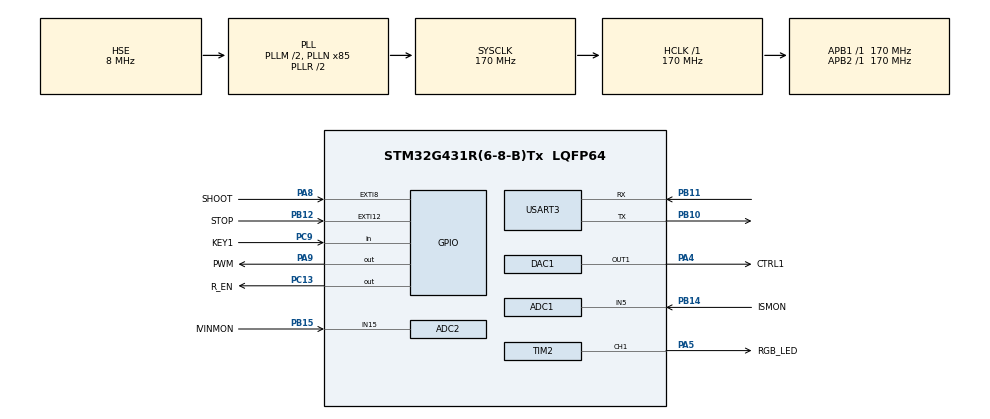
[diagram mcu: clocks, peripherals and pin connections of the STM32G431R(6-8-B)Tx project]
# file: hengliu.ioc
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ADC1.Channel-1\#ChannelRegularConversion=ADC_CHANNEL_5
ADC1.NbrOfConversionFlag=1
ADC1.OffsetNumber-1\#ChannelRegularConversion=ADC_OFFSET_NONE
ADC1.Rank-1\#ChannelRegularConversion=1
ADC1.SamplingTime-1\#ChannelRegularConversion=ADC_SAMPLETIME_247CYCLES_5
ADC1.master=1
ADC2.Channel-1\#ChannelRegularConversion=ADC_CHANNEL_15
ADC2.NbrOfConversionFlag=1
ADC2.OffsetNumber-1\#ChannelRegularConversion=ADC_OFFSET_NONE
ADC2.Rank-1\#ChannelRegularConversion=1
ADC2.SamplingTime-1\#ChannelRegularConversion=ADC_SAMPLETIME_247CYCLES_5
Dma.Request0=TIM2_CH1
Dma.TIM2_CH1.0.Direction=DMA_MEMORY_TO_PERIPH
Dma.TIM2_CH1.0.EventEnable=DISABLE
Dma.TIM2_CH1.0.Instance=DMA1_Channel1
Dma.TIM2_CH1.0.MemDataAlignment=DMA_MDATAALIGN_WORD
Dma.TIM2_CH1.0.MemInc=DMA_MINC_ENABLE
Dma.TIM2_CH1.0.Mode=DMA_NORMAL
Dma.TIM2_CH1.0.PeriphDataAlignment=DMA_PDATAALIGN_WORD
Dma.TIM2_CH1.0.PeriphInc=DMA_PINC_DISABLE
Dma.TIM2_CH1.0.Polarity=HAL_DMAMUX_REQ_GEN_RISING
Dma.TIM2_CH1.0.Priority=DMA_PRIORITY_LOW
Dma.TIM2_CH1.0.RequestNumber=1
Dma.TIM2_CH1.0.SignalID=NONE
Dma.TIM2_CH1.0.SyncEnable=DISABLE
Dma.TIM2_CH1.0.SyncPolarity=HAL_DMAMUX_SYNC_NO_EVENT
Dma.TIM2_CH1.0.SyncRequestNumber=1
Dma.TIM2_CH1.0.SyncSignalID=NONE
Mcu.Family=STM32G4
Mcu.Name=STM32G431R(6-8-B)Tx
Mcu.Package=LQFP64
NVIC.DMA1_Channel1_IRQn=true\:7\:0\:true\:false\:true\:false\:true\:true
NVIC.EXTI15_10_IRQn=true\:1\:0\:true\:false\:true\:true\:true\:true
NVIC.EXTI9_5_IRQn=true\:2\:0\:true\:false\:true\:true\:true\:true
NVIC.PriorityGroup=NVIC_PRIORITYGROUP_4
NVIC.TIM6_DAC_IRQn=true\:0\:0\:false\:false\:true\:true\:true\:true
PA13.Mode=Serial_Wire
PA13.Signal=SYS_JTMS-SWDIO
PA14.Mode=Serial_Wire
PA14.Signal=SYS_JTCK-SWCLK
PA4.GPIO_Label=CTRL1
PA4.Signal=COMP_DAC11_group
PA5.GPIO_Label=RGB_LED
PA5.Signal=S_TIM2_CH1
PA8.GPIO_Label=SHOOT
PA8.GPIO_ModeDefaultEXTI=GPIO_MODE_IT_RISING_FALLING
PA8.GPIO_PuPd=GPIO_PULLUP
PA8.Signal=GPXTI8
PA9.GPIO_Label=PWM
PA9.GPIO_ModeDefaultOutputPP=GPIO_MODE_OUTPUT_PP
PA9.GPIO_PuPd=GPIO_PULLDOWN
PA9.GPIO_Speed=GPIO_SPEED_FREQ_LOW
PA9.Signal=GPIO_Output
PB10.Mode=Asynchronous
PB10.Signal=USART3_TX
PB11.Mode=Asynchronous
PB11.Signal=USART3_RX
PB12.GPIO_Label=STOP
PB12.GPIO_ModeDefaultEXTI=GPIO_MODE_IT_FALLING
PB12.Signal=GPXTI12
PB14.GPIO_Label=ISMON
PB14.Mode=IN5-Single-Ended
PB14.Signal=ADC1_IN5
PB15.GPIO_Label=IVINMON
PB15.Mode=IN15-Single-Ended
PB15.Signal=ADC2_IN15
PC13.GPIO_Label=R_EN
PC13.Signal=GPIO_Output
PC9.GPIO_Label=KEY1
PC9.GPIO_PuPd=GPIO_PULLUP
PC9.Signal=GPIO_Input
PF0-OSC_IN.Mode=HSE-External-Oscillator
PF0-OSC_IN.Signal=RCC_OSC_IN
PF1-OSC_OUT.Mode=HSE-External-Oscillator
PF1-OSC_OUT.Signal=RCC_OSC_OUT
ProjectManager.HeapSize=0x200
ProjectManager.StackSize=0x400
ProjectManager.TargetToolchain=CMake
RCC.ADC12Freq_Value=170000000
RCC.AHBFreq_Value=170000000
RCC.APB1Freq_Value=170000000
RCC.APB1TimFreq_Value=170000000
RCC.APB2Freq_Value=170000000
RCC.APB2TimFreq_Value=170000000
RCC.CK48CLockSelection=RCC_USBCLKSOURCE_HSI48
RCC.CortexFreq_Value=170000000
RCC.EXTERNAL_CLOCK_VALUE=12288000
RCC.HCLKFreq_Value=170000000
RCC.HSE_VALUE=8000000
RCC.HSI48_VALUE=48000000
RCC.HSI_VALUE=16000000
RCC.LSE_VALUE=32768
RCC.PLLM=RCC_PLLM_DIV2
RCC.PLLN=85
RCC.PLLSourceVirtual=RCC_PLLSOURCE_HSE
RCC.SYSCLKFreq_VALUE=170000000
RCC.SYSCLKSource=RCC_SYSCLKSOURCE_PLLCLK
RCC.USBFreq_Value=48000000
RCC.VCOOutputFreq_Value=340000000
SH.COMP_DAC11_group.0=DAC1_OUT1,DAC_OUT1
SH.S_TIM2_CH1.0=TIM2_CH1,PWM Generation1 CH1
TIM2.Channel-PWM\ Generation1\ CH1=TIM_CHANNEL_1
USART3.VirtualMode-Asynchronous=VM_ASYNC
VP_SYS_VS_DBSignals.Mode=DisableDeadBatterySignals
VP_TIM6_VS_ClockSourceINT.Mode=Enable_Timer
board=custom

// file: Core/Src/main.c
/* USER CODE BEGIN Header */
/**
  ******************************************************************************
  * @file           : main.c
  * @brief          : Main program body
  ******************************************************************************
  * @attention
  *
  * Copyright (c) 2026 STMicroelectronics.
  * All rights reserved.
  *
  * This software is licensed under terms that can be found in the LICENSE file
  * in the root directory of this software component.
  * If no LICENSE file comes with this software, it is provided AS-IS.
  *
  ******************************************************************************
  */
/* USER CODE END Header */
#include "main.h"
#include "adc.h"
#include "dac.h"
#include "dma.h"
#include "iwdg.h"
#include "tim.h"
#include "usart.h"
#include "gpio.h"

/* USER CODE BEGIN PD */
#define LASER_SHOOT_DEBOUNCE_MS 5U
#define LASER_FAULT_DEBOUNCE_MS 5U
#define LASER_FAULT_LED_BLINK_MS 250U
#define LASER_DAC_RAMP_STEP_PER_MS 50U
#define LASER_START_MASK_EXTRA_MS 100U
#define LASER_START_MASK_MAX_MS 200U
#define KEY1_PRESS_DEBOUNCE_MS 20U
#define TEST_DAC_VALUE 4034U
#define LASER_CURRENT_GOOD_MS 100U
#define LASER_CURRENT_STALE_MS 5U
#define LASER_CURRENT_TOLERANCE_PERCENT 20U

/* External maintained 5 V, inverted by TLP2761: PA8 LOW = run request.
   K2 also starts/toggles in bench mode 1; either source can stop output.
   After a stop, SHOOT must go inactive before a new active request. */
#ifndef LASER_SHOOT_CONTROL
#define LASER_SHOOT_CONTROL 1U
#endif
#if LASER_SHOOT_CONTROL > 1U
#error "LASER_SHOOT_CONTROL must be 0 or 1"
#endif

/* Bench test only: 0 = hold K2; 1 = toggle; 2 = toggle a timed cycle.
   K2 is named KEY1 in the generated GPIO definitions. */
#ifndef LASER_BENCH_MODE
#define LASER_BENCH_MODE 1U
#endif
#if LASER_BENCH_MODE > 2U
#error "LASER_BENCH_MODE must be 0, 1 or 2"
#endif
#define BENCH_CYCLE_ON_MS 1000U
#define BENCH_CYCLE_OFF_MS 100U

/* USER CODE END PD */

/* USER CODE BEGIN PV */
volatile Laser_State_t g_laser_state = LASER_STATE_IDLE;
volatile uint16_t g_laser_start_mask_ms = 0U;
volatile uint16_t g_laser_fault_debounce_ms = 0U;
static volatile uint8_t g_laser_stop_fault_pending = 0U;
static volatile uint16_t g_laser_dac_target_val = 0U;
static volatile uint16_t g_laser_dac_current_val = 0U;
volatile uint16_t g_laser_shoot_dac_val = 0U;
static volatile uint16_t g_laser_shoot_debounce_ms = 0U;
static volatile uint16_t g_laser_fault_led_blink_ms = 0U;
static volatile uint8_t g_laser_shoot_enabled = 0U;
static volatile uint8_t g_laser_shoot_start_req = 0U;
/* Start disarmed: first observe stable inactive, then a new active level. */
static volatile uint8_t g_laser_shoot_active = 1U;
static volatile uint16_t g_key1_press_debounce_ms = 0U;
static volatile uint8_t g_key1_latched_pressed = 0U;
static volatile uint8_t g_key1_start_req = 0U;
static volatile uint8_t g_key1_release_required = 0U;
/* Nominal, uncalibrated ISMON feedback. Visible in the debugger. */
volatile uint16_t g_laser_current_adc = 0U;
volatile uint16_t g_laser_target_adc = 0U;
volatile uint8_t g_laser_current_valid = 0U;
static volatile uint16_t g_laser_current_age_ms = LASER_CURRENT_STALE_MS;
static volatile uint16_t g_laser_current_good_ms = 0U;
static volatile uint32_t g_tim6_completed = 0U;
static uint32_t g_watchdog_last_completed = 0U;
#if LASER_BENCH_MODE != 0U
static volatile uint8_t g_bench_active = 0U;
static volatile uint16_t g_bench_phase_ms = 0U;
#endif

/* USER CODE END PV */

void SystemClock_Config(void);
/* USER CODE BEGIN PFP */
static void Laser_Disable_Stop_EXTI(void);
static uint8_t Laser_Enable_Stop_EXTI(void);
static void Laser_Disable_Shoot_EXTI(void);
static void Laser_Process_Shoot_Debounce(void);
static void Laser_Process_Shoot_Requests(void);
static void Laser_Process_Fault_LED(void);
static void Laser_Process_Key1_Debounce(void);
static void Laser_Process_Key1_Requests(void);
static uint16_t Laser_Calc_Start_Mask_Ms(uint16_t dac_val);
static void Laser_Process_Dac_Ramp(void);
static void Laser_Set_Dac_12bit(uint16_t dac_val);
static void Laser_TIM6_Start_1ms(void);
static void Laser_Process_Current_Sample(void);
static void Laser_Process_Current_LED(void);
static void Laser_Process_Watchdog(void);
static void Laser_Process_Stop_Fault(void);
#if LASER_BENCH_MODE != 0U
static void Laser_Process_Bench(void);
#endif

/* USER CODE END PFP */

/* USER CODE BEGIN 0 */
/* Main-loop only: each refresh consumes a NEW completed TIM6 task. */
static void Laser_Process_Watchdog(void)
{
  uint32_t completed = g_tim6_completed;

  if (completed != g_watchdog_last_completed)
  {
    g_watchdog_last_completed = completed;
    HAL_IWDG_Refresh(&hiwdg);
  }
}

/* Main-loop only: ADC polling must not delay the TIM6 safety task. */
static void Laser_Process_Current_Sample(void)
{
  static uint32_t last_sample_ms = UINT32_MAX;
  uint32_t now = HAL_GetTick();
  uint32_t primask;
  uint16_t raw = 0U;
  uint8_t valid = 0U;

  if (now == last_sample_ms)
  {
    return;
  }
  last_sample_ms = now;

  if (HAL_ADC_Start(&hadc1) == HAL_OK)
  {
    if (HAL_ADC_PollForConversion(&hadc1, 1U) == HAL_OK)
    {
      raw = (uint16_t)HAL_ADC_GetValue(&hadc1);
      valid = 1U;
    }
  }
  if (HAL_ADC_Stop(&hadc1) != HAL_OK)
  {
    valid = 0U;
  }

  primask = __get_PRIMASK();
  __disable_irq();
  g_laser_current_adc = raw;
  g_laser_current_valid = valid;
  g_laser_current_age_ms = 0U;
  if (valid == 0U)
  {
    g_laser_current_good_ms = 0U;
  }
  if (primask == 0U)
  {
    __enable_irq();
  }
}

static void Laser_Process_Current_LED(void)
{
  uint32_t measured;
  uint32_t target;

  if (g_laser_current_age_ms < LASER_CURRENT_STALE_MS)
  {
    g_laser_current_age_ms++;
  }

  /* R2/R19 = 10k/8.2k, CTRL = 30*Rs*I, ISMON = 20*Rs*I.
     ADC and DAC share VREF+: target ADC = DAC * (41/91) * (20/30).
     This nominal ratio is NOT an ISMON accuracy calibration. */
  target = (uint32_t)g_laser_dac_target_val * 82U;
  g_laser_target_adc = (uint16_t)((target + 136U) / 273U);
  measured = (uint32_t)g_laser_current_adc * 273U * 100U;

  if ((g_laser_state == LASER_STATE_RUNNING) && (target > 0U) &&
      (g_laser_fault_debounce_ms == 0U) &&
      (HAL_GPIO_ReadPin(STOP_GPIO_Port, STOP_Pin) == GPIO_PIN_SET) &&
      (g_laser_current_valid != 0U) &&
      (g_laser_current_age_ms < LASER_CURRENT_STALE_MS) &&
      (measured >= target * (100U - LASER_CURRENT_TOLERANCE_PERCENT)) &&
      (measured <= target * (100U + LASER_CURRENT_TOLERANCE_PERCENT)))
  {
    if (g_laser_current_good_ms < LASER_CURRENT_GOOD_MS)
    {
      g_laser_current_good_ms++;
    }
  }
  else
  {
    g_laser_current_good_ms = 0U;
  }

  /* Fault blinking owns the LED while FAULT is latched. */
  if (g_laser_state != LASER_STATE_FAULT)
  {
    HAL_GPIO_WritePin(R_EN_GPIO_Port, R_EN_Pin,
                     (g_laser_current_good_ms >= LASER_CURRENT_GOOD_MS) ? GPIO_PIN_SET : GPIO_PIN_RESET);
  }
}

static void Laser_Disable_Stop_EXTI(void)
{
  EXTI->IMR1 &= ~(uint32_t)STOP_Pin;
  __HAL_GPIO_EXTI_CLEAR_IT(STOP_Pin);
  HAL_NVIC_ClearPendingIRQ(STOP_EXTI_IRQn);
}

static uint8_t Laser_Enable_Stop_EXTI(void)
{
  __HAL_GPIO_EXTI_CLEAR_IT(STOP_Pin);
  HAL_NVIC_ClearPendingIRQ(STOP_EXTI_IRQn);

  if (HAL_GPIO_ReadPin(STOP_GPIO_Port, STOP_Pin) == GPIO_PIN_RESET)
  {
    return 0U;
  }

  EXTI->IMR1 |= (uint32_t)STOP_Pin;
  return 1U;
}

static void Laser_Process_Stop_Fault(void)
{
  if ((g_laser_state != LASER_STATE_RUNNING) &&
      !((g_laser_state == LASER_STATE_IDLE) && (g_laser_stop_fault_pending != 0U)))
  {
    return;
  }

  if (HAL_GPIO_ReadPin(STOP_GPIO_Port, STOP_Pin) == GPIO_PIN_RESET)
  {
    if (g_laser_fault_debounce_ms == 0U)
    {
      Laser_Disable_Stop_EXTI();
      g_laser_fault_debounce_ms = LASER_FAULT_DEBOUNCE_MS;
    }

    /* EXTI and polling share five consecutive 1 ms low samples. */
    g_laser_fault_debounce_ms--;
    if (g_laser_fault_debounce_ms == 0U)
    {
      Laser_Emergency_Kill();
    }
  }
  else if (g_laser_fault_debounce_ms != 0U)
  {
    g_laser_fault_debounce_ms = 0U;
    g_laser_stop_fault_pending = 0U;
    if ((g_laser_state == LASER_STATE_RUNNING) && (Laser_Enable_Stop_EXTI() == 0U))
    {
      /* A new falling edge during re-arm needs its own debounce. */
      g_laser_fault_debounce_ms = LASER_FAULT_DEBOUNCE_MS;
    }
  }
}

static void Laser_Disable_Shoot_EXTI(void)
{
  EXTI->IMR1 &= ~(uint32_t)SHOOT_Pin;
  __HAL_GPIO_EXTI_CLEAR_IT(SHOOT_Pin);
  HAL_NVIC_ClearPendingIRQ(SHOOT_EXTI_IRQn);
}

static void Laser_Process_Shoot_Debounce(void)
{
  uint8_t active;

  if (g_laser_shoot_enabled == 0U)
  {
    return;
  }

  active = (HAL_GPIO_ReadPin(SHOOT_GPIO_Port, SHOOT_Pin) == GPIO_PIN_RESET) ? 1U : 0U;
  if (active == 0U)
  {
    /* Even a brief withdrawal invalidates a not-yet-committed start. */
    g_laser_shoot_start_req = 0U;
  }
  if (active == g_laser_shoot_active)
  {
    g_laser_shoot_debounce_ms = 0U;
    return;
  }
  g_laser_shoot_debounce_ms++;
  if (g_laser_shoot_debounce_ms < LASER_SHOOT_DEBOUNCE_MS)
  {
    return;
  }

  g_laser_shoot_debounce_ms = 0U;
  g_laser_shoot_active = active;
  if (active == 0U)
  {
    if ((g_laser_state == LASER_STATE_STARTING) || (g_laser_state == LASER_STATE_RUNNING) ||
        (g_key1_start_req != 0U))
    {
      /* Stop in TIM6: no main-loop participation is required. */
      Laser_Stop();
      /* A simultaneous button press must not undo this stop. */
      if (HAL_GPIO_ReadPin(KEY1_GPIO_Port, KEY1_Pin) == GPIO_PIN_RESET)
      {
        g_key1_release_required = 1U;
      }
      g_laser_shoot_active = 0U; /* This withdrawal is already qualified. */
    }
  }
  else if ((g_laser_state == LASER_STATE_IDLE) && (g_laser_stop_fault_pending == 0U) &&
           (g_laser_shoot_dac_val > 0U) && (g_key1_release_required == 0U) &&
           (HAL_GPIO_ReadPin(KEY1_GPIO_Port, KEY1_Pin) == GPIO_PIN_SET))
  {
    g_laser_shoot_start_req = 1U;
  }
}

static void Laser_Process_Shoot_Requests(void)
{
  uint32_t primask;

  primask = __get_PRIMASK();
  __disable_irq();
  if (g_laser_shoot_start_req != 0U)
  {
    g_laser_shoot_start_req = 0U;
    /* Recheck raw input and commit under one interrupt mask. */
    if ((g_laser_shoot_enabled != 0U) && (g_laser_shoot_active != 0U) &&
        (g_laser_shoot_dac_val > 0U) && (g_key1_release_required == 0U) &&
        (HAL_GPIO_ReadPin(SHOOT_GPIO_Port, SHOOT_Pin) == GPIO_PIN_RESET) &&
        (HAL_GPIO_ReadPin(KEY1_GPIO_Port, KEY1_Pin) == GPIO_PIN_SET))
    {
      Laser_Start(g_laser_shoot_dac_val);
    }
  }
  if (primask == 0U)
  {
    __enable_irq();
  }
}

static void Laser_Process_Fault_LED(void)
{
  if (g_laser_state != LASER_STATE_FAULT)
  {
    return;
  }

  if (g_laser_fault_led_blink_ms > 0U)
  {
    g_laser_fault_led_blink_ms--;
  }

  if (g_laser_fault_led_blink_ms == 0U)
  {
    HAL_GPIO_TogglePin(R_EN_GPIO_Port, R_EN_Pin);
    g_laser_fault_led_blink_ms = LASER_FAULT_LED_BLINK_MS;
  }
}

static void Laser_Process_Key1_Debounce(void)
{
  GPIO_PinState key_level = HAL_GPIO_ReadPin(KEY1_GPIO_Port, KEY1_Pin);

  if (key_level == GPIO_PIN_RESET)
  {
    if (g_key1_release_required != 0U)
    {
      g_key1_press_debounce_ms = 0U;
      return;
    }

    if (g_key1_latched_pressed == 0U)
    {
      if (g_key1_press_debounce_ms < KEY1_PRESS_DEBOUNCE_MS)
      {
        g_key1_press_debounce_ms++;
      }

      if (g_key1_press_debounce_ms >= KEY1_PRESS_DEBOUNCE_MS)
      {
        g_key1_latched_pressed = 1U;
#if LASER_BENCH_MODE != 0U
        if ((g_bench_active != 0U) || (g_laser_state == LASER_STATE_STARTING) ||
            (g_laser_state == LASER_STATE_RUNNING))
        {
          /* TIM6 stops output even when the main loop is stalled. */
          Laser_Stop();
        }
        else if (g_laser_state == LASER_STATE_IDLE)
        {
          g_bench_active = 1U;
          g_bench_phase_ms = 0U;
          g_key1_start_req = 1U;
        }
#else
        g_key1_start_req = 1U;
#endif
      }
    }
  }
  else
  {
    g_key1_press_debounce_ms = 0U;
    g_key1_release_required = 0U;

    if (g_key1_latched_pressed != 0U)
    {
      g_key1_latched_pressed = 0U;
#if LASER_BENCH_MODE == 0U
      g_key1_start_req = 0U;
      /* Stop in TIM6 even if the main loop is not making progress. */
      Laser_Stop();
#endif
    }
  }
}

static void Laser_Process_Key1_Requests(void)
{
  uint32_t primask;

  primask = __get_PRIMASK();
  __disable_irq();

  if (g_key1_start_req != 0U)
  {
    g_key1_start_req = 0U;
    /* Recheck and commit together: no stale start after a stop request. */
#if LASER_BENCH_MODE != 0U
    if (g_bench_active != 0U)
#else
    if ((g_key1_latched_pressed != 0U) && (g_key1_release_required == 0U) &&
        (HAL_GPIO_ReadPin(KEY1_GPIO_Port, KEY1_Pin) == GPIO_PIN_RESET))
#endif
    {
      Laser_Start(TEST_DAC_VALUE);
#if LASER_BENCH_MODE != 0U
      /* Count the ON interval from the actual output enable. */
      g_bench_phase_ms = 0U;
#endif
    }
  }

  if (primask == 0U)
  {
    __enable_irq();
  }
}

#if LASER_BENCH_MODE != 0U
static void Laser_Process_Bench(void)
{
#if LASER_SHOOT_CONTROL != 0U
  return;
#endif
  if (g_bench_active == 0U)
  {
    return;
  }

#if LASER_BENCH_MODE == 2U
  /* A delayed main loop must not consume the next ON interval. */
  if (g_key1_start_req != 0U)
  {
    return;
  }

  if (g_bench_phase_ms < UINT16_MAX)
  {
    g_bench_phase_ms++;
  }

  if (g_laser_state == LASER_STATE_IDLE)
  {
    if (g_bench_phase_ms >= BENCH_CYCLE_OFF_MS)
    {
      g_key1_start_req = 1U;
    }
  }
  else if (g_bench_phase_ms >= BENCH_CYCLE_ON_MS)
  {
    /* Finish a pending fault check before a cycle stop could clear it. */
    if (g_laser_fault_debounce_ms != 0U)
    {
      return;
    }
    Laser_Stop();
    if (g_laser_state == LASER_STATE_IDLE)
    {
      /* Only this planned stop may re-arm the cycle, within TIM6. */
      g_bench_active = 1U;
    }
  }
#endif
}
#endif

static uint16_t Laser_Calc_Start_Mask_Ms(uint16_t dac_val)
{
  uint32_t ramp_ms = ((uint32_t)dac_val + LASER_DAC_RAMP_STEP_PER_MS - 1U) / LASER_DAC_RAMP_STEP_PER_MS;
  uint32_t mask_ms = ramp_ms + LASER_START_MASK_EXTRA_MS;

  if (mask_ms > LASER_START_MASK_MAX_MS)
  {
    mask_ms = LASER_START_MASK_MAX_MS;
  }

  return (uint16_t)mask_ms;
}

static void Laser_Process_Dac_Ramp(void)
{
  uint16_t next_val;

  if ((g_laser_state != LASER_STATE_STARTING) && (g_laser_state != LASER_STATE_RUNNING))
  {
    return;
  }

  if (g_laser_dac_current_val >= g_laser_dac_target_val)
  {
    return;
  }

  next_val = g_laser_dac_current_val + LASER_DAC_RAMP_STEP_PER_MS;
  if ((next_val < g_laser_dac_current_val) || (next_val > g_laser_dac_target_val))
  {
    next_val = g_laser_dac_target_val;
  }

  g_laser_dac_current_val = next_val;
  Laser_Set_Dac_12bit(next_val);
}

static void Laser_Set_Dac_12bit(uint16_t dac_val)
{
  if (dac_val > 4095U)
  {
    dac_val = 4095U;
  }

  if (HAL_DAC_SetValue(&hdac1, DAC_CHANNEL_1, DAC_ALIGN_12B_R, dac_val) != HAL_OK)
  {
    Error_Handler();
  }
}

static void Laser_TIM6_Start_1ms(void)
{
  uint32_t tim6_clk_hz = HAL_RCC_GetPCLK1Freq();

  if ((RCC->CFGR & RCC_CFGR_PPRE1) != 0U)
  {
    tim6_clk_hz *= 2U;
  }

  __HAL_TIM_DISABLE(&htim6);
  __HAL_TIM_DISABLE_IT(&htim6, TIM_IT_UPDATE);
  __HAL_TIM_SET_PRESCALER(&htim6, (tim6_clk_hz / 1000000U) - 1U);
  __HAL_TIM_SET_AUTORELOAD(&htim6, 1000U - 1U);
  __HAL_TIM_SET_COUNTER(&htim6, 0U);
  HAL_TIM_GenerateEvent(&htim6, TIM_EVENTSOURCE_UPDATE);
  __HAL_TIM_CLEAR_FLAG(&htim6, TIM_FLAG_UPDATE);

  if (HAL_TIM_Base_Start_IT(&htim6) != HAL_OK)
  {
    Error_Handler();
  }
}

void Laser_Hardware_Init(void)
{
  g_laser_current_adc = 0U;
  g_laser_target_adc = 0U;
  g_laser_current_valid = 0U;
  g_laser_current_age_ms = LASER_CURRENT_STALE_MS;
  g_laser_current_good_ms = 0U;
  g_laser_state = LASER_STATE_IDLE;
  g_tim6_completed = 0U;
  g_watchdog_last_completed = 0U;
  g_laser_start_mask_ms = 0U;
  g_laser_fault_debounce_ms = 0U;
  g_laser_stop_fault_pending = 0U;
  g_laser_dac_target_val = 0U;
  g_laser_dac_current_val = 0U;
  g_laser_shoot_debounce_ms = 0U;
  g_laser_fault_led_blink_ms = 0U;
  g_laser_shoot_enabled = 0U;
  g_laser_shoot_start_req = 0U;
  g_laser_shoot_active = 1U;
  g_key1_press_debounce_ms = 0U;
  g_key1_latched_pressed = 0U;
  g_key1_start_req = 0U;
  g_key1_release_required = (HAL_GPIO_ReadPin(KEY1_GPIO_Port, KEY1_Pin) == GPIO_PIN_RESET) ? 1U : 0U;
#if LASER_BENCH_MODE != 0U
  g_bench_active = 0U;
  g_bench_phase_ms = 0U;
#endif

  Laser_Disable_Stop_EXTI();
  Laser_Disable_Shoot_EXTI();
  HAL_GPIO_WritePin(PWM_GPIO_Port, PWM_Pin, GPIO_PIN_RESET);
  HAL_GPIO_WritePin(R_EN_GPIO_Port, R_EN_Pin, GPIO_PIN_RESET);

  /* PA4 must be forced to 0 before enabling DAC output. */
  Laser_Set_Dac_12bit(0U);
  if (HAL_DAC_Start(&hdac1, DAC_CHANNEL_1) != HAL_OK)
  {
    Error_Handler();
  }
  Laser_Set_Dac_12bit(0U);

  Laser_TIM6_Start_1ms();
}

void Laser_Set_Shoot_Enable(uint8_t enable)
{
  uint32_t primask = __get_PRIMASK();
  __disable_irq();
  Laser_Disable_Shoot_EXTI(); /* Level polling owns SHOOT; no edge re-arm window. */
  Laser_Stop();
  g_laser_shoot_enabled = ((enable != 0U) && (g_laser_state != LASER_STATE_FAULT)) ? 1U : 0U;
  if (primask == 0U)
  {
    __enable_irq();
  }
}

void Laser_Start(uint16_t dac_val)
{
  uint32_t primask;

  primask = __get_PRIMASK();
  __disable_irq();

  if ((g_laser_state != LASER_STATE_IDLE) || (g_laser_stop_fault_pending != 0U))
  {
    if (primask == 0U)
    {
      __enable_irq();
    }
    return;
  }

  if (dac_val > 4095U)
  {
    dac_val = 4095U;
  }

  Laser_Disable_Stop_EXTI();
  g_laser_fault_debounce_ms = 0U;
  g_laser_fault_led_blink_ms = 0U;
  g_laser_dac_target_val = dac_val;
  g_laser_dac_current_val = 0U;
  g_laser_current_valid = 0U;
  g_laser_current_good_ms = 0U;
  HAL_GPIO_WritePin(R_EN_GPIO_Port, R_EN_Pin, GPIO_PIN_RESET);

  Laser_Set_Dac_12bit(0U);
  HAL_GPIO_WritePin(PWM_GPIO_Port, PWM_Pin, GPIO_PIN_SET);

  g_laser_start_mask_ms = Laser_Calc_Start_Mask_Ms(dac_val);
  g_laser_state = LASER_STATE_STARTING;

  if (primask == 0U)
  {
    __enable_irq();
  }
}

void Laser_Stop(void)
{
  uint32_t primask;

  primask = __get_PRIMASK();
  __disable_irq();

  g_laser_shoot_start_req = 0U;
  g_laser_shoot_debounce_ms = 0U;
  g_laser_shoot_active = 1U;

#if LASER_BENCH_MODE != 0U
  g_bench_active = 0U;
  g_bench_phase_ms = 0U;
  g_key1_start_req = 0U;
#endif

  if (g_laser_state == LASER_STATE_FAULT)
  {
    if (primask == 0U)
    {
      __enable_irq();
    }
    return;
  }

  /* Preserve a fault already observed while running, but turn output off now.
     Do not start new fault checks from indications caused by normal shutdown. */
  if ((g_laser_state == LASER_STATE_RUNNING) &&
      ((g_laser_fault_debounce_ms != 0U) ||
       (HAL_GPIO_ReadPin(STOP_GPIO_Port, STOP_Pin) == GPIO_PIN_RESET)))
  {
    g_laser_stop_fault_pending = 1U;
    if (g_laser_fault_debounce_ms == 0U)
    {
      g_laser_fault_debounce_ms = LASER_FAULT_DEBOUNCE_MS;
    }
  }
  PWM_GPIO_Port->BRR = PWM_Pin;
  Laser_Set_Dac_12bit(0U);
  Laser_Disable_Stop_EXTI();

  g_laser_state = LASER_STATE_IDLE;
  g_laser_start_mask_ms = 0U;
  if (g_laser_stop_fault_pending == 0U)
  {
    g_laser_fault_debounce_ms = 0U;
  }
  g_laser_fault_led_blink_ms = 0U;
  g_laser_dac_target_val = 0U;
  g_laser_dac_current_val = 0U;

  HAL_GPIO_WritePin(R_EN_GPIO_Port, R_EN_Pin, GPIO_PIN_RESET);

  if (primask == 0U)
  {
    __enable_irq();
  }
}

void Laser_Emergency_Kill(void)
{
#if LASER_BENCH_MODE != 0U
  g_bench_active = 0U;
  g_bench_phase_ms = 0U;
#endif
  Laser_Disable_Stop_EXTI();
  Laser_Disable_Shoot_EXTI();

  PWM_GPIO_Port->BRR = PWM_Pin;
  Laser_Set_Dac_12bit(0U);

  g_laser_start_mask_ms = 0U;
  g_laser_fault_debounce_ms = 0U;
  g_laser_stop_fault_pending = 0U;
  g_laser_dac_target_val = 0U;
  g_laser_dac_current_val = 0U;
  g_laser_shoot_debounce_ms = 0U;
  g_laser_shoot_enabled = 0U;
  g_laser_shoot_start_req = 0U;
  g_laser_shoot_active = 1U;
  g_key1_press_debounce_ms = 0U;
  g_key1_latched_pressed = 0U;
  g_key1_start_req = 0U;
  g_key1_release_required = 1U;
  g_laser_fault_led_blink_ms = LASER_FAULT_LED_BLINK_MS;
  g_laser_state = LASER_STATE_FAULT;

  /* Fault is indicated by non-blocking blinking in the TIM6 1 ms task. */
  HAL_GPIO_WritePin(R_EN_GPIO_Port, R_EN_Pin, GPIO_PIN_SET);
}

uint8_t Laser_Fault_Clear(void)
{
  if (g_laser_state != LASER_STATE_FAULT)
  {
    return 1U;
  }

  Laser_Disable_Stop_EXTI();
  Laser_Disable_Shoot_EXTI();

  PWM_GPIO_Port->BRR = PWM_Pin;
  Laser_Set_Dac_12bit(0U);

  g_laser_start_mask_ms = 0U;
  g_laser_fault_debounce_ms = 0U;
  g_laser_stop_fault_pending = 0U;
  g_laser_dac_target_val = 0U;
  g_laser_dac_current_val = 0U;
  g_laser_shoot_debounce_ms = 0U;
  g_laser_shoot_enabled = 0U;
  g_laser_shoot_start_req = 0U;
  g_laser_shoot_active = 1U;
  g_key1_press_debounce_ms = 0U;
  g_key1_latched_pressed = 0U;
  g_key1_start_req = 0U;
  g_key1_release_required = 1U;

  g_laser_fault_led_blink_ms = 0U;
  g_laser_state = LASER_STATE_IDLE;
  HAL_GPIO_WritePin(R_EN_GPIO_Port, R_EN_Pin, GPIO_PIN_RESET);
  return 1U;
}

/* Fatal handlers leave interrupts masked; no HAL, delay or handle is needed. */
void Laser_Fatal_Shutdown(void)
{
  __disable_irq();

  /* PA9 is only driven after GPIOA has been clocked and initialized. */
  if ((RCC->AHB2ENR & RCC_AHB2ENR_GPIOAEN) != 0U)
  {
    PWM_GPIO_Port->BRR = PWM_Pin;
  }

  /* DAC1 channel 1 uses no trigger, so writing zero updates its output. */
  if ((RCC->AHB2ENR & RCC_AHB2ENR_DAC1EN) != 0U)
  {
    DAC1->DHR12R1 = 0U;
  }
  if ((RCC->AHB2ENR & RCC_AHB2ENR_GPIOCEN) != 0U)
  {
    R_EN_GPIO_Port->BRR = R_EN_Pin;
  }
  __DSB();
}

/* USER CODE END 0 */

int main(void)
{

  /* MCU Configuration--------------------------------------------------------*/

  /* Reset of all peripherals, Initializes the Flash interface and the Systick. */
  HAL_Init();

  /* Configure the system clock */
  SystemClock_Config();

  /* Initialize all configured peripherals */
  MX_GPIO_Init();
  MX_DMA_Init();
  MX_DAC1_Init();
  MX_TIM2_Init();
  MX_USART3_UART_Init();
  MX_ADC1_Init();
  MX_ADC2_Init();
  MX_TIM6_Init();
  MX_IWDG_Init();
  /* USER CODE BEGIN 2 */
  if (HAL_ADCEx_Calibration_Start(&hadc1, ADC_SINGLE_ENDED) != HAL_OK)
  {
    Error_Handler();
  }
  Laser_Hardware_Init();
#if LASER_SHOOT_CONTROL != 0U
  g_laser_shoot_dac_val = TEST_DAC_VALUE;
  Laser_Set_Shoot_Enable(1U);
#else
  g_laser_shoot_dac_val = 0U;
  Laser_Set_Shoot_Enable(0U);
#endif

  /* USER CODE END 2 */

  /* Infinite loop */
  while (1)
  {

    /* USER CODE BEGIN 3 */
    Laser_Process_Key1_Requests();
    Laser_Process_Shoot_Requests();
    Laser_Process_Current_Sample();
    Laser_Process_Watchdog();
  }
  /* USER CODE END 3 */
}

void SystemClock_Config(void)
{
  RCC_OscInitTypeDef RCC_OscInitStruct = {0};
  RCC_ClkInitTypeDef RCC_ClkInitStruct = {0};

  /** Configure the main internal regulator output voltage
  */
  HAL_PWREx_ControlVoltageScaling(PWR_REGULATOR_VOLTAGE_SCALE1_BOOST);

  /** Initializes the RCC Oscillators according to the specified parameters
  * in the RCC_OscInitTypeDef structure.
  */
  RCC_OscInitStruct.OscillatorType = RCC_OSCILLATORTYPE_LSI|RCC_OSCILLATORTYPE_HSE;
  RCC_OscInitStruct.HSEState = RCC_HSE_ON;
  RCC_OscInitStruct.LSIState = RCC_LSI_ON;
  RCC_OscInitStruct.PLL.PLLState = RCC_PLL_ON;
  RCC_OscInitStruct.PLL.PLLSource = RCC_PLLSOURCE_HSE;
  RCC_OscInitStruct.PLL.PLLM = RCC_PLLM_DIV2;
  RCC_OscInitStruct.PLL.PLLN = 85;
  RCC_OscInitStruct.PLL.PLLP = RCC_PLLP_DIV2;
  RCC_OscInitStruct.PLL.PLLQ = RCC_PLLQ_DIV2;
  RCC_OscInitStruct.PLL.PLLR = RCC_PLLR_DIV2;
  if (HAL_RCC_OscConfig(&RCC_OscInitStruct) != HAL_OK)
  {
    Error_Handler();
  }

  /** Initializes the CPU, AHB and APB buses clocks
  */
  RCC_ClkInitStruct.ClockType = RCC_CLOCKTYPE_HCLK|RCC_CLOCKTYPE_SYSCLK
                              |RCC_CLOCKTYPE_PCLK1|RCC_CLOCKTYPE_PCLK2;
  RCC_ClkInitStruct.SYSCLKSource = RCC_SYSCLKSOURCE_PLLCLK;
  RCC_ClkInitStruct.AHBCLKDivider = RCC_SYSCLK_DIV1;
  RCC_ClkInitStruct.APB1CLKDivider = RCC_HCLK_DIV1;
  RCC_ClkInitStruct.APB2CLKDivider = RCC_HCLK_DIV1;

  if (HAL_RCC_ClockConfig(&RCC_ClkInitStruct, FLASH_LATENCY_4) != HAL_OK)
  {
    Error_Handler();
  }

  /** Enables the Clock Security System
  */
  HAL_RCC_EnableCSS();
}

/* USER CODE BEGIN 4 */
void HAL_TIM_PeriodElapsedCallback(TIM_HandleTypeDef *htim)
{
  if (htim->Instance != TIM6)
  {
    return;
  }

  Laser_Process_Shoot_Debounce();
  Laser_Process_Key1_Debounce();
  Laser_Process_Dac_Ramp();

  if ((g_laser_state == LASER_STATE_STARTING) && (g_laser_start_mask_ms > 0U))
  {
    g_laser_start_mask_ms--;

    if (g_laser_start_mask_ms == 0U)
    {
      if (HAL_GPIO_ReadPin(STOP_GPIO_Port, STOP_Pin) == GPIO_PIN_RESET)
      {
        Laser_Emergency_Kill();
      }
      else
      {
        if (Laser_Enable_Stop_EXTI() != 0U)
        {
          g_laser_state = LASER_STATE_RUNNING;
        }
        else
        {
          Laser_Emergency_Kill();
        }
      }
    }
  }

  Laser_Process_Stop_Fault();

#if LASER_BENCH_MODE != 0U
  Laser_Process_Bench();
#endif
  Laser_Process_Current_LED();
  Laser_Process_Fault_LED();
  /* Publish progress only after every TIM6 task has returned. */
  g_tim6_completed++;
}

void HAL_GPIO_EXTI_Callback(uint16_t GPIO_Pin)
{
  if (GPIO_Pin == STOP_Pin)
  {
    uint32_t primask = __get_PRIMASK();
    __disable_irq();
    Laser_Disable_Stop_EXTI();

    if (g_laser_state == LASER_STATE_RUNNING)
    {
      if (g_laser_fault_debounce_ms == 0U)
      {
        g_laser_fault_debounce_ms = LASER_FAULT_DEBOUNCE_MS;
      }
    }
    else if (g_laser_stop_fault_pending == 0U)
    {
      g_laser_fault_debounce_ms = 0U;
    }
    if (primask == 0U)
    {
      __enable_irq();
    }
  }
}

/* USER CODE END 4 */

void Error_Handler(void)
{
  /* USER CODE BEGIN Error_Handler_Debug */
  /* User can add his own implementation to report the HAL error return state */
  Laser_Fatal_Shutdown();
  while (1)
  {
  }
  /* USER CODE END Error_Handler_Debug */
}
